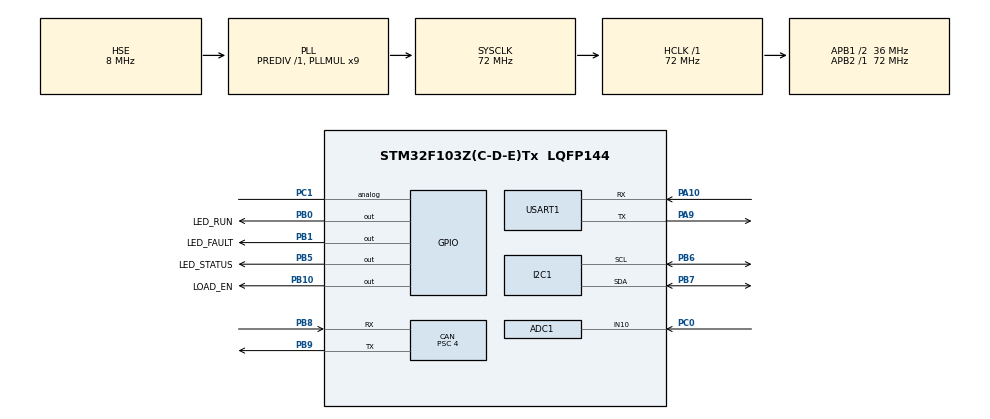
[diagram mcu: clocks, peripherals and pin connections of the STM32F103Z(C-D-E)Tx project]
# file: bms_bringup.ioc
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ADC1.Channel-0\#ChannelRegularConversion=ADC_CHANNEL_10
ADC1.NbrOfConversion=1
ADC1.NbrOfConversionFlag=1
ADC1.Rank-0\#ChannelRegularConversion=1
ADC1.SamplingTime-0\#ChannelRegularConversion=ADC_SAMPLETIME_239CYCLES_5
ADC1.master=1
CAN.BS1=CAN_BS1_13TQ
CAN.BS2=CAN_BS2_4TQ
CAN.CalculateBaudRate=500000
CAN.CalculateTimeBit=2000
CAN.CalculateTimeQuantum=111.11111111111111
CAN.Mode=CAN_MODE_NORMAL
CAN.Prescaler=4
FREERTOS.INCLUDE_uxTaskGetStackHighWaterMark2=1
FREERTOS.INCLUDE_vTaskDelayUntil=1
FREERTOS.MEMORY_ALLOCATION=0
FREERTOS.Tasks01=defaultTask,1,1024,StartDefaultTask,Default,NULL,Dynamic,NULL,NULL;ledTask,-1,128,StartLedTask,Default,NULL,Dynamic,NULL,NULL;commTask,-1,768,StartCommTask,Default,NULL,Dynamic,NULL,NULL;sampleTask,0,512,StartSampleTask,Default,NULL,Dynamic,NULL,NULL
FREERTOS.configMINIMAL_STACK_SIZE=128
FREERTOS.configTOTAL_HEAP_SIZE=16384
IWDG.Prescaler=IWDG_PRESCALER_64
IWDG.Reload=2499
Mcu.Family=STM32F1
Mcu.Name=STM32F103Z(C-D-E)Tx
Mcu.Package=LQFP144
NVIC.PriorityGroup=NVIC_PRIORITYGROUP_4
NVIC.TIM4_IRQn=true\:15\:0\:false\:false\:true\:false\:false\:true\:true
NVIC.TimeBase=TIM4_IRQn
NVIC.TimeBaseIP=TIM4
NVIC.USART1_IRQn=true\:5\:0\:false\:false\:true\:true\:true\:true\:true
OSC_IN.Mode=HSE-External-Oscillator
OSC_IN.Signal=RCC_OSC_IN
OSC_OUT.Mode=HSE-External-Oscillator
OSC_OUT.Signal=RCC_OSC_OUT
PA10.Mode=Asynchronous
PA10.Signal=USART1_RX
PA13.Mode=Serial_Wire
PA13.Signal=SYS_JTMS-SWDIO
PA14.Mode=Serial_Wire
PA14.Signal=SYS_JTCK-SWCLK
PA9.Mode=Asynchronous
PA9.Signal=USART1_TX
PB0.GPIO_Label=LED_RUN
PB0.PinState=GPIO_PIN_SET
PB0.Signal=GPIO_Output
PB1.GPIO_Label=LED_FAULT
PB1.PinState=GPIO_PIN_SET
PB1.Signal=GPIO_Output
PB10.GPIO_Label=LOAD_EN
PB10.Signal=GPIO_Output
PB5.GPIO_Label=LED_STATUS
PB5.PinState=GPIO_PIN_SET
PB5.Signal=GPIO_Output
PB6.Mode=I2C
PB6.Signal=I2C1_SCL
PB7.Mode=I2C
PB7.Signal=I2C1_SDA
PB8.GPIO_PuPd=GPIO_PULLUP
PB8.Mode=CAN_Activate
PB8.Signal=CAN_RX
PB9.Mode=CAN_Activate
PB9.Signal=CAN_TX
PC0.Signal=ADCx_IN10
PC1.Signal=GPIO_Analog
PC14-OSC32_IN.Mode=LSE-External-Oscillator
PC14-OSC32_IN.Signal=RCC_OSC32_IN
PC15-OSC32_OUT.Mode=LSE-External-Oscillator
PC15-OSC32_OUT.Signal=RCC_OSC32_OUT
ProjectManager.HeapSize=0x200
ProjectManager.StackSize=0x400
ProjectManager.TargetToolchain=MDK-ARM V5
RCC.ADCPresc=RCC_ADCPCLK2_DIV6
RCC.AHBFreq_Value=72000000
RCC.APB1CLKDivider=RCC_HCLK_DIV2
RCC.APB1Freq_Value=36000000
RCC.APB1TimFreq_Value=72000000
RCC.APB2Freq_Value=72000000
RCC.APB2TimFreq_Value=72000000
RCC.HCLKFreq_Value=72000000
RCC.PLLMUL=RCC_PLL_MUL9
RCC.PLLSourceVirtual=RCC_PLLSOURCE_HSE
RCC.SYSCLKFreq_VALUE=72000000
RCC.SYSCLKSource=RCC_SYSCLKSOURCE_PLLCLK
RCC.USBFreq_Value=72000000
SH.ADCx_IN10.0=ADC1_IN10,IN10
USART1.VirtualMode=VM_ASYNC
VP_FREERTOS_VS_CMSIS_V1.Mode=CMSIS_V1
VP_IWDG_VS_IWDG.Mode=IWDG_Activate
VP_SYS_VS_tim4.Mode=TIM4
board=custom

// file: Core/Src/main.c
/* USER CODE BEGIN Header */
/**
  ******************************************************************************
  * @file           : main.c
  * @brief          : Main program body
  ******************************************************************************
  * @attention
  *
  * Copyright (c) 2026 STMicroelectronics.
  * All rights reserved.
  *
  * This software is licensed under terms that can be found in the LICENSE file
  * in the root directory of this software component.
  * If no LICENSE file comes with this software, it is provided AS-IS.
  *
  ******************************************************************************
  */
/* USER CODE END Header */
#include "main.h"
#include "cmsis_os.h"
#include "adc.h"
#include "can.h"
#include "i2c.h"
#include "iwdg.h"
#include "usart.h"
#include "gpio.h"

/* USER CODE BEGIN Includes */
#include "bsp_output.h"
#include "bsp_transport.h"
#include "bsp_watchdog.h"
#include "bms_tasks.h"
/* USER CODE END Includes */

void SystemClock_Config(void);
void MX_FREERTOS_Init(void);

int main(void)
{

  /* USER CODE BEGIN 1 */
    Bsp_WatchdogCaptureReset();
  /* USER CODE END 1 */

  /* MCU Configuration--------------------------------------------------------*/

  /* Reset of all peripherals, Initializes the Flash interface and the Systick. */
  HAL_Init();

  /* Configure the system clock */
  SystemClock_Config();

  /* Initialize all configured peripherals */
  MX_GPIO_Init();
  MX_USART1_UART_Init();
  MX_ADC1_Init();
  MX_CAN_Init();
  MX_I2C1_Init();
  MX_IWDG_Init();

  /* USER CODE BEGIN 2 */
    Bms_TasksInitWatchdog();
    Bsp_WatchdogLogReset();
  /* USER CODE END 2 */

  /* Call init function for freertos objects (in cmsis_os2.c) */
  MX_FREERTOS_Init();

  /* Start scheduler */
  osKernelStart();

  /* We should never get here as control is now taken by the scheduler */

  /* Infinite loop */
    while (1)
    {

    /* USER CODE BEGIN 3 */
    Error_Handler();
    }
  /* USER CODE END 3 */
}

void SystemClock_Config(void)
{
  RCC_OscInitTypeDef RCC_OscInitStruct = {0};
  RCC_ClkInitTypeDef RCC_ClkInitStruct = {0};
  RCC_PeriphCLKInitTypeDef PeriphClkInit = {0};

  /** Initializes the RCC Oscillators according to the specified parameters
  * in the RCC_OscInitTypeDef structure.
  */
  RCC_OscInitStruct.OscillatorType = RCC_OSCILLATORTYPE_LSI|RCC_OSCILLATORTYPE_HSE;
  RCC_OscInitStruct.HSEState = RCC_HSE_ON;
  RCC_OscInitStruct.HSEPredivValue = RCC_HSE_PREDIV_DIV1;
  RCC_OscInitStruct.HSIState = RCC_HSI_ON;
  RCC_OscInitStruct.LSIState = RCC_LSI_ON;
  RCC_OscInitStruct.PLL.PLLState = RCC_PLL_ON;
  RCC_OscInitStruct.PLL.PLLSource = RCC_PLLSOURCE_HSE;
  RCC_OscInitStruct.PLL.PLLMUL = RCC_PLL_MUL9;
  if (HAL_RCC_OscConfig(&RCC_OscInitStruct) != HAL_OK)
  {
    Error_Handler();
  }

  /** Initializes the CPU, AHB and APB buses clocks
  */
  RCC_ClkInitStruct.ClockType = RCC_CLOCKTYPE_HCLK|RCC_CLOCKTYPE_SYSCLK
                              |RCC_CLOCKTYPE_PCLK1|RCC_CLOCKTYPE_PCLK2;
  RCC_ClkInitStruct.SYSCLKSource = RCC_SYSCLKSOURCE_PLLCLK;
  RCC_ClkInitStruct.AHBCLKDivider = RCC_SYSCLK_DIV1;
  RCC_ClkInitStruct.APB1CLKDivider = RCC_HCLK_DIV2;
  RCC_ClkInitStruct.APB2CLKDivider = RCC_HCLK_DIV1;

  if (HAL_RCC_ClockConfig(&RCC_ClkInitStruct, FLASH_LATENCY_2) != HAL_OK)
  {
    Error_Handler();
  }
  PeriphClkInit.PeriphClockSelection = RCC_PERIPHCLK_ADC;
  PeriphClkInit.AdcClockSelection = RCC_ADCPCLK2_DIV6;
  if (HAL_RCCEx_PeriphCLKConfig(&PeriphClkInit) != HAL_OK)
  {
    Error_Handler();
  }
}

/* USER CODE BEGIN 4 */
void HAL_UART_RxCpltCallback(UART_HandleTypeDef *uart)
{
    Bsp_TransportOnUartRx(uart);
}

void HAL_UART_ErrorCallback(UART_HandleTypeDef *uart)
{
    Bsp_TransportOnUartError(uart);
}
/* USER CODE END 4 */

void HAL_TIM_PeriodElapsedCallback(TIM_HandleTypeDef *htim)
{
  if (htim->Instance == TIM4)
  {
    HAL_IncTick();
  }
}

void Error_Handler(void)
{
  /* USER CODE BEGIN Error_Handler_Debug */
    Bsp_OutputForceOff();
    __disable_irq();
    while (1)
    {
    }
  /* USER CODE END Error_Handler_Debug */
}

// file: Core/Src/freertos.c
/* USER CODE BEGIN Header */
/**
  ******************************************************************************
  * File Name          : freertos.c
  * Description        : Code for freertos applications
  ******************************************************************************
  * @attention
  *
  * Copyright (c) 2026 STMicroelectronics.
  * All rights reserved.
  *
  * This software is licensed under terms that can be found in the LICENSE file
  * in the root directory of this software component.
  * If no LICENSE file comes with this software, it is provided AS-IS.
  *
  ******************************************************************************
  */
/* USER CODE END Header */

#include "FreeRTOS.h"
#include "task.h"
#include "main.h"
#include "cmsis_os.h"

/* USER CODE BEGIN Includes */
#include "bms_tasks.h"
#include "bms_ipc.h"

/* USER CODE END Includes */

osThreadId defaultTaskHandle;
osThreadId ledTaskHandle;
osThreadId commTaskHandle;
osThreadId sampleTaskHandle;

void StartDefaultTask(void const * argument);
void StartLedTask(void const * argument);
void StartCommTask(void const * argument);
void StartSampleTask(void const * argument);

void MX_FREERTOS_Init(void); /* (MISRA C 2004 rule 8.1) */

void MX_FREERTOS_Init(void) {

  /* USER CODE BEGIN RTOS_QUEUES */
  /* add queues, ... */
    if (Bms_IpcInit() == 0u)
    {
        Error_Handler();
    }
  /* USER CODE END RTOS_QUEUES */

  /* Create the thread(s) */
  /* definition and creation of defaultTask */
  osThreadDef(defaultTask, StartDefaultTask, osPriorityAboveNormal, 0, 1024);
  defaultTaskHandle = osThreadCreate(osThread(defaultTask), NULL);

  /* definition and creation of ledTask */
  osThreadDef(ledTask, StartLedTask, osPriorityBelowNormal, 0, 128);
  ledTaskHandle = osThreadCreate(osThread(ledTask), NULL);

  /* definition and creation of commTask */
  osThreadDef(commTask, StartCommTask, osPriorityBelowNormal, 0, 768);
  commTaskHandle = osThreadCreate(osThread(commTask), NULL);

  /* definition and creation of sampleTask */
  osThreadDef(sampleTask, StartSampleTask, osPriorityNormal, 0, 512);
  sampleTaskHandle = osThreadCreate(osThread(sampleTask), NULL);

  /* USER CODE BEGIN RTOS_THREADS */
  /* add threads, ... */
    /* 内存不足等原因可能导致任务创建失败。 */
    if ((defaultTaskHandle == NULL)
        || (ledTaskHandle == NULL)
        || (commTaskHandle == NULL)
        || (sampleTaskHandle == NULL))
    {
        Error_Handler();
    }
  /* USER CODE END RTOS_THREADS */

}

void StartDefaultTask(void const * argument)
{
  /* USER CODE BEGIN StartDefaultTask */
    (void)argument;
    Bms_RunTask();
  /* USER CODE END StartDefaultTask */
}

void StartLedTask(void const * argument)
{
  /* USER CODE BEGIN StartLedTask */
    (void)argument;
    Bms_RunHeartbeatTask();
  /* USER CODE END StartLedTask */
}

void StartCommTask(void const * argument)
{
  /* USER CODE BEGIN StartCommTask */
    (void)argument;
    Bms_RunCommTask();
  /* USER CODE END StartCommTask */
}

void StartSampleTask(void const * argument)
{
  /* USER CODE BEGIN StartSampleTask */
    (void)argument;
    Bms_RunSampleTask();
  /* USER CODE END StartSampleTask */
}
